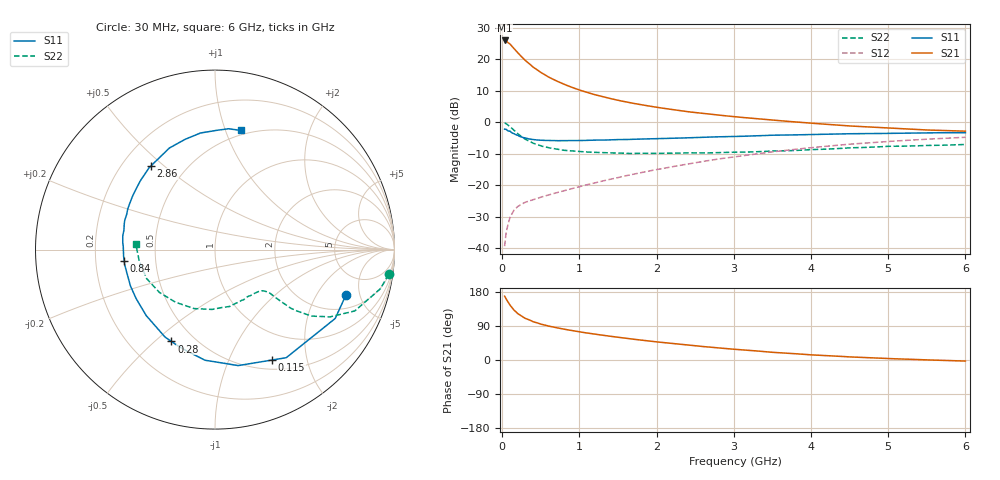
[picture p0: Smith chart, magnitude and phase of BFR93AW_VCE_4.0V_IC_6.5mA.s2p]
! Infineon Technologies  Discrete & RF Semiconductors
! BFR93AW
! VCE =  4.0 V,  IC =  6.5 mA
! Common Emitter S-Parameters:  Nov 2015
# GHz  S  MA  R  50
!  f  S11  S21  S12  S22
! GHz  MAG  ANG  MAG  ANG  MAG  ANG  MAG  ANG
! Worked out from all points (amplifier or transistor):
!   206 points, 30 MHz to 6 GHz, reference 50 ohm
!   highest |S21| = 25.9 dB at 30 MHz (marker M1)
!   |S21| within 3 dB of that: start of sweep to 168 MHz
!   unconditionally stable (mu >= 1): 873 MHz to 2.266 GHz
!   at 200 MHz: K = 0.36, MSG = 24.4 dB, |S12| = -26.8 dB
!   at 1.56 GHz: K = 1.08, MAG = 10.2 dB, |S12| = -17.2 dB
!   at 6 GHz: K = 0.92, MSG = 1.0 dB, |S12| = -4.8 dB
!   S11 on the Smith chart (normalised r, x): 30 MHz: 2.99, -3.71; 115 MHz: 0.62, -1.45; 280 MHz: 0.38, -0.57; 840 MHz: 0.33, -0.06; 2.86 GHz: 0.32, +0.45; 6 GHz: 0.46, +1.13
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0.03  0.7726 -18.9  19.72 168.5  0.0108 78.6  0.9768 -8.1
0.05  0.7718 -29.8  19.39 160.7  0.0175 75.9  0.9475 -13.3
0.1  0.7213 -56.6  17.32 144.5  0.0309 65.1  0.8502 -23.7
0.115  0.6921 -62.8  16.48 141.1  0.0335 62.0  0.817 -25.5
0.15  0.659 -78.7  14.77 131.7  0.0399 56.3  0.743 -30.3
0.2  0.6188 -95.2  12.63 122.5  0.0459 52.6  0.6562 -34.4
0.24  0.585 -106.1  11.19 116.8  0.0492 50.0  0.5989 -36.0
0.28  0.5663 -115.4  10.01 112.0  0.0523 48.5  0.5548 -37.2
0.3  0.5611 -119.8  9.467 109.6  0.0538 48.0  0.5349 -37.7
0.4  0.5309 -136.3  7.444 101.0  0.0591 47.5  0.463 -38.2
0.5  0.5172 -148.2  6.133 94.6  0.0646 49.1  0.419 -38.4
0.6  0.5128 -156.8  5.184 89.5  0.0701 51.1  0.3926 -38.4
0.7  0.5084 -164.4  4.511 85.2  0.0758 53.2  0.3742 -39.0
0.84  0.5098 -172.8  3.808 79.9  0.0844 55.8  0.3548 -40.4
1.04  0.5121 177.8  3.116 73.1  0.0976 58.8  0.3397 -43.0
1.48  0.5278 162.4  2.247 60.5  0.1304 63.4  0.3241 -52.0
2.02  0.5479 146.7  1.705 47.4  0.1788 64.6  0.3209 -65.8
2.86  0.5872 127.4  1.272 30.9  0.2665 61.3  0.3294 -89.0
3.1  0.5962 122.2  1.19 26.9  0.292 59.5  0.3343 -96.2
4.1  0.6391 103.5  0.943 12.6  0.4041 49.4  0.3692 -130.2
5.1  0.6655 88.7  0.795 3.1  0.5029 37.1  0.4143 -160.0
6  0.6795 77.7  0.719 -2.8  0.5751 26.2  0.4429 175.8
